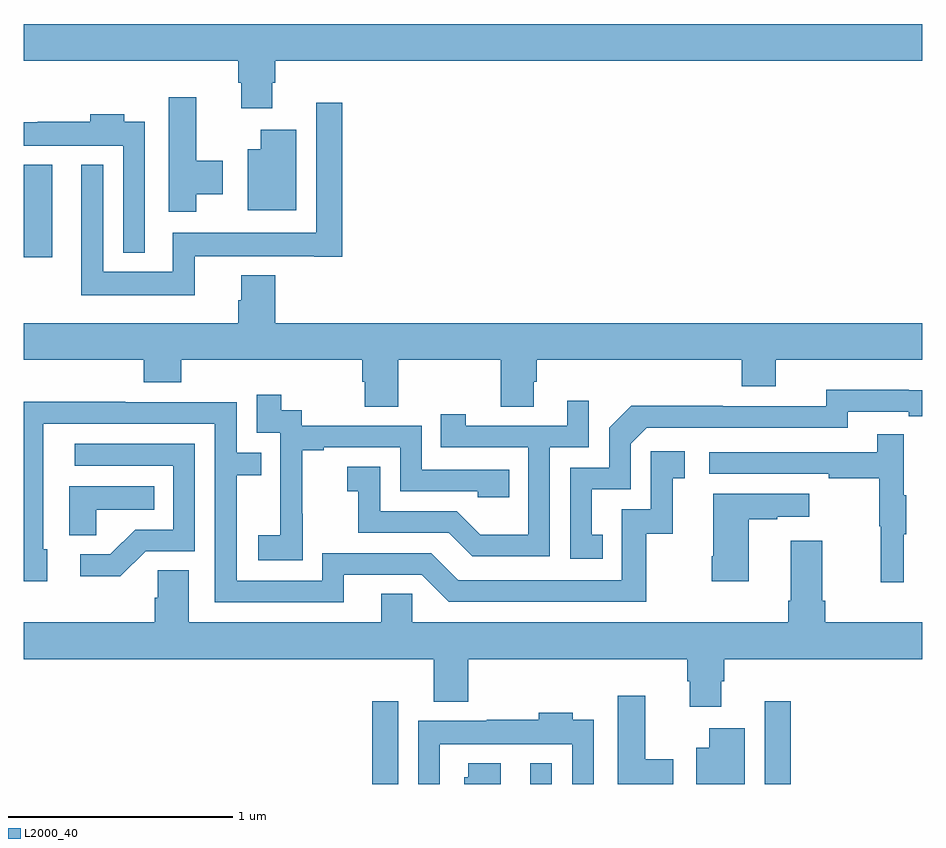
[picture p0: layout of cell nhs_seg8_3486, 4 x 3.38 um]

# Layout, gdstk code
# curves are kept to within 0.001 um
import gdstk
lib = gdstk.Library(unit=1e-6, precision=1e-09)
def R(c, l, rs):  # rectangles x0, y0, x1, y1
    for r in rs: c.add(gdstk.rectangle(r[:2], r[2:], *l))
def P(c, l, *ps):  # polygons
    for p in ps: c.add(gdstk.Polygon(p, *l))
L2000_40 = (2000, 40)

nhs_seg8_3486 = lib.new_cell('nhs_seg8_3486')
R(nhs_seg8_3486, L2000_40, [(326.551,1159.9,326.667,1160.269), (327.254,1159.9,327.351,1159.993), (328.299,1159.9,328.415,1160.269), (325,1162.246,325.126,1162.657)])
P(nhs_seg8_3486, L2000_40, [(326.107,1163.022),(326.12,1163.022),(326.12,1163.12),(329,1163.12),(329,1163.284),(325,1163.284),(325,1163.12),(325.955,1163.12),(325.955,1163.022),(325.967,1163.022),(325.967,1162.908),(326.107,1162.908)],
  [(325.768,1162.526),(325.885,1162.526),(325.885,1162.674),(325.768,1162.674),(325.768,1162.957),(325.646,1162.957),(325.646,1162.449),(325.768,1162.449)],
  [(325.76,1162.25),(326.294,1162.25),(326.294,1162.248),(326.417,1162.248),(326.417,1162.933),(326.301,1162.933),(326.301,1162.354),(325.662,1162.354),(325.662,1162.18),(325.353,1162.18),(325.353,1162.657),(325.256,1162.657),(325.256,1162.076),(325.76,1162.076)],
  [(325.539,1162.849),(325.447,1162.849),(325.447,1162.882),(325.295,1162.882),(325.295,1162.849),(325.063,1162.849),(325.063,1162.846),(325,1162.846),(325,1162.742),(325.443,1162.742),(325.443,1162.265),(325.539,1162.265)],
  [(326.212,1162.813),(326.054,1162.813),(326.054,1162.726),(325.997,1162.726),(325.997,1162.454),(326.212,1162.454)],
  [(326.667,1161.788),(327.124,1161.788),(327.124,1161.58),(327.271,1161.58),(327.271,1161.69),(327.284,1161.69),(327.284,1161.788),(328.196,1161.788),(328.196,1161.671),(328.348,1161.671),(328.348,1161.788),(329,1161.788),(329,1161.952),(326.12,1161.952),(326.12,1162.165),(325.967,1162.165),(325.967,1162.053),(325.955,1162.053),(325.955,1161.952),(325,1161.952),(325,1161.788),(325.535,1161.788),(325.535,1161.689),(325.7,1161.689),(325.7,1161.788),(326.507,1161.788),(326.507,1161.69),(326.519,1161.69),(326.519,1161.58),(326.667,1161.58)],
  [(327.578,1161.009),(327.529,1161.009),(327.529,1161.213),(327.702,1161.213),(327.702,1161.414),(327.774,1161.486),(328.668,1161.486),(328.668,1161.558),(328.94,1161.558),(328.94,1161.538),(329,1161.538),(329,1161.654),(328.572,1161.655),(328.572,1161.582),(328.112,1161.582),(328.112,1161.584),(327.704,1161.584),(327.606,1161.486),(327.606,1161.309),(327.432,1161.309),(327.432,1160.904),(327.578,1160.904)],
  [(326.241,1161.103),(326.24,1161.103),(326.24,1161.387),(326.335,1161.387),(326.335,1161.399),(326.676,1161.399),(326.676,1161.204),(327.021,1161.204),(327.021,1161.177),(327.161,1161.177),(327.161,1161.3),(326.772,1161.3),(326.772,1161.495),(326.238,1161.495),(326.238,1161.564),(326.146,1161.564),(326.146,1161.634),(326.037,1161.634),(326.037,1161.465),(326.142,1161.465),(326.142,1161.236),(326.141,1161.236),(326.141,1161.007),(326.043,1161.007),(326.043,1160.897),(326.241,1160.897)],
  [(327.342,1161.399),(327.516,1161.399),(327.516,1161.607),(327.419,1161.607),(327.419,1161.495),(326.968,1161.495),(326.968,1161.547),(326.857,1161.547),(326.857,1161.399),(327.246,1161.399),(327.246,1161.01),(327.032,1161.01),(326.928,1161.114),(326.586,1161.114),(326.586,1161.313),(326.439,1161.313),(326.439,1161.203),(326.488,1161.203),(326.488,1161.018),(326.891,1161.018),(326.996,1160.913),(327.342,1160.913)],
  [(326.425,1160.832),(326.772,1160.832),(326.892,1160.712),(327.772,1160.712),(327.772,1161.015),(327.89,1161.015),(327.89,1161.261),(327.943,1161.261),(327.943,1161.382),(327.792,1161.382),(327.792,1161.123),(327.663,1161.123),(327.663,1160.808),(326.934,1160.808),(326.814,1160.928),(326.328,1160.928),(326.328,1160.805),(325.947,1160.805),(325.947,1161.274),(326.057,1161.274),(326.057,1161.375),(325.947,1161.375),(325.947,1161.6),(325.451,1161.6),(325.451,1161.602),(325,1161.602),(325,1160.802),(325.105,1160.802),(325.105,1160.946),(325.086,1160.946),(325.086,1161.504),(325.851,1161.504),(325.851,1160.709),(326.425,1160.709)],
  [(328.919,1161.011),(328.93,1161.011),(328.93,1161.185),(328.919,1161.185),(328.919,1161.457),(328.801,1161.457),(328.801,1161.378),(328.053,1161.378),(328.053,1161.282),(328.585,1161.282),(328.585,1161.262),(328.809,1161.262),(328.809,1161.048),(328.816,1161.048),(328.816,1160.799),(328.919,1160.799)],
  [(325.542,1160.937),(325.761,1160.937),(325.761,1161.414),(325.227,1161.414),(325.227,1161.318),(325.665,1161.318),(325.665,1161.033),(325.496,1161.033),(325.385,1160.922),(325.251,1160.922),(325.251,1160.825),(325.429,1160.825)],
  [(325.323,1161.122),(325.58,1161.122),(325.58,1161.226),(325.202,1161.226),(325.202,1161.007),(325.323,1161.007)],
  [(328.228,1161.079),(328.355,1161.079),(328.355,1161.089),(328.498,1161.089),(328.498,1161.193),(328.07,1161.193),(328.07,1160.914),(328.063,1160.914),(328.063,1160.802),(328.228,1160.802)],
  [(326.73,1160.747),(326.591,1160.747),(326.591,1160.62),(325.735,1160.62),(325.735,1160.852),(325.596,1160.852),(325.596,1160.729),(325.583,1160.729),(325.583,1160.62),(325,1160.62),(325,1160.456),(326.825,1160.456),(326.825,1160.267),(326.978,1160.267),(326.978,1160.456),(327.953,1160.456),(327.953,1160.358),(327.965,1160.358),(327.965,1160.244),(328.105,1160.244),(328.105,1160.358),(328.118,1160.358),(328.118,1160.456),(329,1160.456),(329,1160.62),(328.568,1160.62),(328.568,1160.716),(328.555,1160.716),(328.555,1160.983),(328.415,1160.983),(328.415,1160.716),(328.403,1160.716),(328.403,1160.62),(326.73,1160.62)],
  [(327.892,1160.01),(327.766,1160.01),(327.766,1160.293),(327.644,1160.293),(327.644,1159.9),(327.892,1159.9)],
  [(326.853,1160.078),(327.441,1160.078),(327.441,1159.9),(327.537,1159.9),(327.537,1160.185),(327.445,1160.185),(327.445,1160.218),(327.293,1160.218),(327.293,1160.185),(327.061,1160.185),(327.061,1160.182),(326.757,1160.182),(326.757,1159.9),(326.853,1159.9)],
  [(328.21,1160.149),(328.052,1160.149),(328.052,1160.062),(327.995,1160.062),(327.995,1159.9),(328.21,1159.9)],
  [(327.124,1159.993),(326.978,1159.993),(326.978,1159.929),(326.96,1159.929),(326.96,1159.9),(327.124,1159.9)])

lib.write_gds('nhs_seg8_3486.gds')
